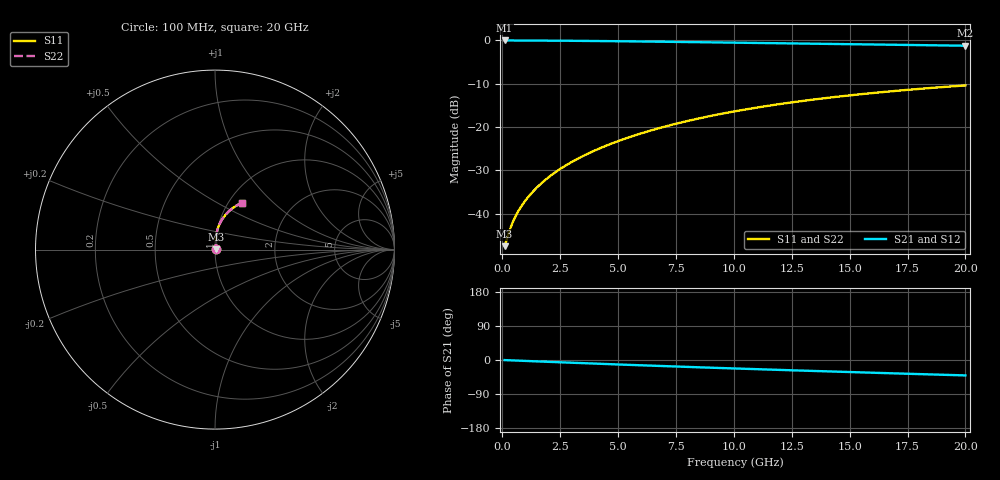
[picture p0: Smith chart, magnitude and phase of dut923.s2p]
! Touchstone file exported from HFSS 2024.1.0
!  File:  C:/UserFiles/LocalFiles/RDL_TSV_Batchsim/temp_RDL_top_923_1779936636.aedt
!  Generated:  10:53:36 AM May 28, 2026
!  Design:  RDL_top
!  Project:  temp_RDL_top_923_1779936636
!  Setup:  Setup1
!  Solution:  Sweep
! Variables:
!  dtsv = 10.80580581um
!  hbump = 3um
!  htsv = 90.84um
!  ldown = 100um
!  lrdl = 621.85um
!  p = 40
!  p1 = 42.22um
!  rhole = 1um
!  t = 450um
!  tdown = 3.915915916um
!  trdl = 2.49um
!  wdown = 15.38538539um
!  wrdl = 24.43um
# GHz S MA R 50.000000
! Terminal data exported
! Port[1] = Box2_T1
! Port[2] = Box2_T2
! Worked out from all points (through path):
!   200 points, 100 MHz to 20 GHz, reference 50 ohm
!   highest |S21| = -0.03 dB at 100 MHz (marker M1); lowest = -1.2 dB at 20 GHz (marker M2)
!   group delay of S21, straight-line fit = 5.6 ps
!   lowest |S11| = -47.5 dB at 100 MHz (marker M3), VSWR 1.01, Z = 50.4 + j0.159 ohm
!   |S11| at or under -10 dB: start of sweep to end of sweep
!   |S22| runs from -47.5 to -10.4 dB; largest |S21 - S12| = 2.5e-15
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0.1  0.004217 21.9  0.9961 -0.3  0.9961 -0.3  0.004217 21.9
! Gamma 0 0 0 0
! Port Impedance 50 0 50 0
0.3  0.006217 46.5  0.9956 -0.8  0.9956 -0.8  0.006217 46.5
0.4  0.007371 52.5  0.9954 -1.0  0.9954 -1.0  0.007371 52.5
0.6  0.009656 60.1  0.9948 -1.5  0.9948 -1.5  0.009656 60.1
0.7  0.01079 62.8  0.9946 -1.8  0.9946 -1.8  0.01079 62.8
0.9  0.01305 67.1  0.9941 -2.2  0.9941 -2.2  0.01305 67.1
1.2  0.01653 71.8  0.9934 -3.0  0.9934 -3.0  0.01653 71.8
1.4  0.0189 74.1  0.9929 -3.4  0.9929 -3.4  0.0189 74.1
1.7  0.02256 76.9  0.9921 -4.1  0.9921 -4.1  0.02256 76.9
2.2  0.02887 80.0  0.9905 -5.3  0.9905 -5.3  0.02887 80.0
2.8  0.03678 82.4  0.9881 -6.8  0.9881 -6.8  0.03678 82.4
3.5  0.04646 84.0  0.9848 -8.4  0.9848 -8.4  0.04646 84.0
4.2  0.05659 84.8  0.981 -10.0  0.981 -10.0  0.05659 84.8
5  0.06868 85.1  0.9761 -11.8  0.9761 -11.8  0.06867 85.1
5.9  0.08282 84.8  0.9702 -13.8  0.9702 -13.8  0.08282 84.8
6.8  0.09743 84.0  0.9639 -15.7  0.9639 -15.7  0.09741 84.0
8.4  0.1241 81.9  0.9521 -19.1  0.9521 -19.1  0.124 81.9
10.1  0.1527 79.0  0.9392 -22.5  0.9392 -22.5  0.1526 79.0
11.7  0.1792 76.0  0.9271 -25.6  0.9271 -25.6  0.1792 76.0
13.4  0.2067 72.7  0.9143 -28.9  0.9143 -28.9  0.2067 72.7
16.7  0.2568 66.2  0.8898 -34.9  0.8898 -34.9  0.2568 66.2
20  0.3018 59.9  0.8662 -40.7  0.8662 -40.7  0.3018 59.9
